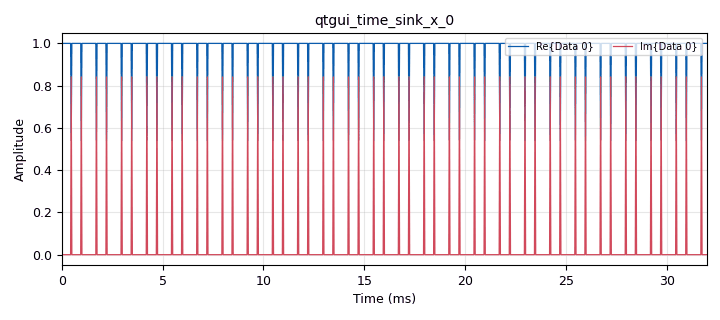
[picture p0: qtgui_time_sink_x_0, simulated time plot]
options:
  parameters:
    author: pilard034
    generate_options: qt_gui
    id: modulacionGMSK
    output_language: python
    title: Not titled yet
  states: {}

blocks:
- name: BT
  id: variable
  parameters:
    value: 350m
  states: {state: disabled}
- name: Sps
  id: variable
  parameters:
    value: '1'
  states: {}
- name: f
  id: variable_qtgui_range
  parameters:
    orient: Qt.Horizontal
    start: '10000'
    step: '100'
    stop: '100000'
    value: '56000'
  states: {}
- name: fc
  id: variable
  parameters:
    value: 32M
  states: {state: disabled}
- name: gaussian_filter_taps
  id: variable
  parameters:
    value: wform.rrcos(Sps,nTaps,1)
  states: {}
- name: nTaps
  id: variable
  parameters:
    value: '16'
  states: {}
- name: samp_rate
  id: variable
  parameters:
    value: '32000'
  states: {}
- name: sample_per_symbol
  id: variable
  parameters:
    value: '4'
  states: {}
- name: sensitivity
  id: variable
  parameters:
    value: 392.699m
  states: {state: disabled}
- name: analog_const_source_x_0_0_0
  id: analog_const_source_x
  parameters:
    const: '1'
    type: float
  states: {}
- name: analog_random_source_x_0
  id: analog_random_source_x
  parameters:
    max: '256'
    min: '0'
    num_samps: '1000'
    repeat: 'True'
    type: byte
  states: {state: disabled}
- name: b_PSD_0
  id: b_PSD
  parameters:
    Ensayos: '1000'
    N: '4096'
    Titulo: '''espectro'''
    Ymax: '5e-6'
    gui_hint: menu@2:0,0,1,1
    samp_rate_audio: '22000'
  states: {}
- name: b_PSD_0_0
  id: b_PSD
  parameters:
    Ensayos: '1000'
    N: '4096'
    Titulo: '''espectro'''
    Ymax: '5e-6'
    gui_hint: menu@3:0,0,1,1
    samp_rate_audio: '22000'
  states: {}
- name: b_upconverter_cf_0
  id: b_upconverter_cf
  parameters:
    Fc: 2e6
    samp_rate: f
  states: {}
- name: blocks_char_to_float_0
  id: blocks_char_to_float
  parameters:
    scale: '1'
  states: {}
- name: blocks_complex_to_float_0
  id: blocks_complex_to_float
  parameters: {}
  states: {}
- name: blocks_packed_to_unpacked_xx_0
  id: blocks_packed_to_unpacked_xx
  parameters:
    bits_per_chunk: '1'
    endianness: gr.GR_MSB_FIRST
    type: byte
  states: {}
- name: blocks_vector_source_x_0
  id: blocks_vector_source_x
  parameters:
    repeat: 'True'
    type: byte
    vector: (1,0,0,1,0)
  states: {}
- name: digital_chunks_to_symbols_xx_0
  id: digital_chunks_to_symbols_xx
  parameters:
    dimension: '1'
    in_type: byte
    out_type: float
    symbol_table: (1, -1)
  states: {state: disabled}
- name: e_VCO_fase_fc_0
  id: epy_block
  parameters:
    _source_code: "\nimport numpy as np\nfrom gnuradio import gr\n\n\nclass blk(gr.sync_block):  \n    \"\"\"Done by Homero Ortega Boada. Es un VCO dos entradas: \nin0 para manipular la fase, in1 para manipular la \nmagnitud. En el fondo es el equivalente a un generador\nde una senal exponencial compleja. Sobre la configuracion:\ncada valor de la senal en in0 es interpretada como la fase\ndeseada en radianes. cada valor de in0, es la magnitud deseada\"\"\"\n\n    def __init__(self): \n        gr.sync_block.__init__(self,\n            name='e_VCO_fase_fc',\n            in_sig=[np.float32, np.float32],\n            out_sig=[np.complex64]\n        )\n    def work(self, input_items, output_items):\n        in0=input_items[0]\n        in1=input_items[1]\n        out0=output_items[0]\n        out0[:] = in1*np.exp(1.j*in0)\n        return len(out0)\n"
  states: {}
- name: import_0
  id: import
  parameters:
    imports: import math, numpy
  states: {}
- name: menu
  id: qtgui_tab_widget
  parameters:
    gui_hint: 0,1,1,8
    label0: modulada EC
    label1: modulada PB
    label2: PSD EC
    label3: PSD PB
    num_tabs: '4'
  states: {}
- name: qtgui_time_sink_x_0
  id: qtgui_time_sink_x
  parameters:
    autoscale: 'True'
    ctrlpanel: 'True'
    grid: 'True'
    gui_hint: menu@0:0,0,1,1
    size: '1024'
    srate: samp_rate
    type: complex
  states: {}
- name: qtgui_time_sink_x_0_0
  id: qtgui_time_sink_x
  parameters:
    autoscale: 'True'
    ctrlpanel: 'True'
    grid: 'True'
    gui_hint: menu@1:0,0,1,1
    size: '1024'
    srate: samp_rate
    type: float
  states: {}
- name: virtual_sink_0
  id: virtual_sink
  parameters:
    stream_id: EC
  states: {}
- name: virtual_sink_0_0
  id: virtual_sink
  parameters:
    stream_id: PB
  states: {}
- name: virtual_source_0
  id: virtual_source
  parameters:
    stream_id: EC
  states: {}
- name: virtual_source_0_0
  id: virtual_source
  parameters:
    stream_id: PB
  states: {}
- name: wform
  id: epy_module
  parameters:
    source_code: |
      import math
      import numpy
      #######################################################
      ##        Hecho por Homero Ortega Boada              ##
      ##        comdiguis@saber.uis.edu.co                 ##
      ##     Universidad Industrial de Santander           ##
      #######################################################

      #######################################################
      ##               Forma rectangular                   ##
      #######################################################                       
      def rect(Sps,ntaps):
          h=ntaps*[0,]
          for n in range(Sps):
              k=int(ntaps/2) # esto es para que h[n] quede centrada en la mitad del vector
              h[k-n]=1.
          return h

      #######################################################
      ##               Forma de Nyquist                    ##
      #######################################################                       
      def nyq(Sps,ntaps):
          ntaps_min=-int(ntaps/2)
          ntaps_max=abs(ntaps_min)-1+int(math.ceil(ntaps/2.-abs(ntaps_min)))
          h=ntaps*[0,]
          for n in range(ntaps):
              k=n-ntaps/2. # esto es para que h[n] quede centrada en la mitad del vector
              h[n]=numpy.sinc(k/Sps)
          Amp=numpy.amax(h)
          return h/Amp

      #######################################################
      ##               Forma Coseno Alzado                 ##
      #######################################################                       
      def rcos(Sps,ntaps,beta):
          if beta==0:
              h=nyq(Sps,ntaps)
          else:
              h=ntaps*[0,]
              for n in range(ntaps):
                  k=n-ntaps/2. # esto es para que h[n] quede centrada en la mitad del vector
                  if abs(k)==Sps/(2.*beta):
                      h[n]=numpy.sinc(1./(2.*beta))*math.pi/4.
                  else:
                      h[n]=numpy.sinc(k/Sps)*math.cos(beta*k*math.pi/Sps)/(1.-(2.*beta*k/Sps)**2)                
          Amp=numpy.amax(h)
          return h/Amp

      #######################################################
      ##            Forma Raiz de Coseno Alzado            ##
      #######################################################                       

      def rrcos(Sps,ntaps,beta):
          if beta==0:
              h=nyq(Sps,ntaps)
          else:
              h=ntaps*[0,]
              beta4=4.*beta
              for n in range(ntaps):
                  k=n-ntaps/2. # esto es para que h[n] quede centrada en la mitad del vector
                  if k==0:
                      h[n]=1+beta*(4./math.pi-1.)
                  elif abs(k)==Sps/beta4:
                      ha=(1.+2./math.pi)*math.sin(math.pi/beta4)
                      hb=(1.-2./math.pi)*math.cos(math.pi/beta4)
                      h[n]=(ha+hb)*beta/math.sqrt(2.)
                  else:
                      ks=k/Sps
                      kspi=math.pi*ks
                      Num=math.sin(kspi*(1-beta))+beta4*ks*math.cos(kspi*(1+beta))
                      Den=kspi*(1.-(beta4*ks)**2)
                      h[n]=Num/Den                
          Amp=numpy.amax(h)
          return h/Amp
  states: {}

connections:
- [analog_const_source_x_0_0_0, '0', e_VCO_fase_fc_0, '1']
- [analog_random_source_x_0, '0', blocks_packed_to_unpacked_xx_0, '0']
- [b_upconverter_cf_0, '0', virtual_sink_0_0, '0']
- [blocks_char_to_float_0, '0', e_VCO_fase_fc_0, '0']
- [blocks_complex_to_float_0, '0', b_PSD_0, '0']
- [blocks_packed_to_unpacked_xx_0, '0', blocks_char_to_float_0, '0']
- [blocks_packed_to_unpacked_xx_0, '0', digital_chunks_to_symbols_xx_0, '0']
- [blocks_vector_source_x_0, '0', blocks_packed_to_unpacked_xx_0, '0']
- [e_VCO_fase_fc_0, '0', b_upconverter_cf_0, '0']
- [e_VCO_fase_fc_0, '0', virtual_sink_0, '0']
- [virtual_source_0, '0', blocks_complex_to_float_0, '0']
- [virtual_source_0, '0', qtgui_time_sink_x_0, '0']
- [virtual_source_0_0, '0', b_PSD_0_0, '0']
- [virtual_source_0_0, '0', qtgui_time_sink_x_0_0, '0']

metadata:
  file_format: 1
